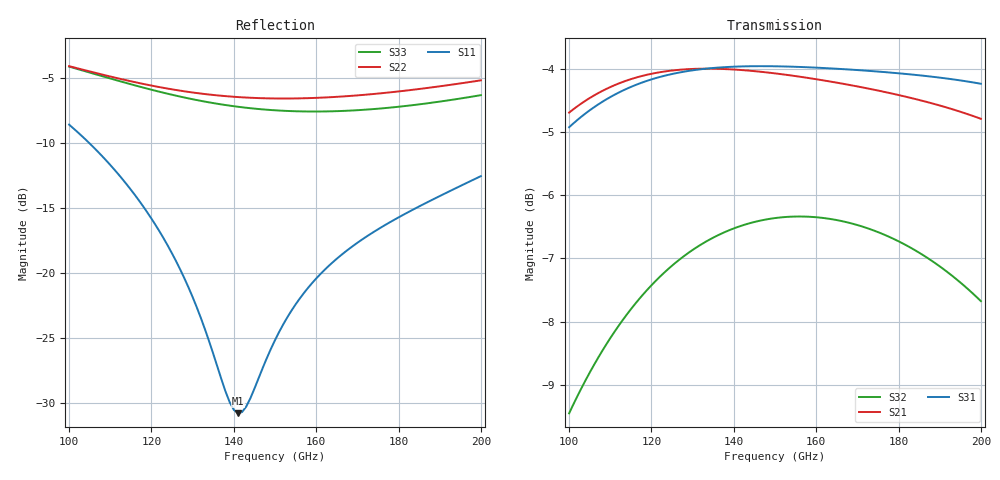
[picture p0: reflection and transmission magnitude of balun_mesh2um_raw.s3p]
#  GHZ S DB R 50.0
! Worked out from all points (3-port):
!   101 points, 100 GHz to 200 GHz, reference 50 ohm
!   strongest paths, dB at 100 GHz, 125 GHz, 150 GHz, 175 GHz, 200 GHz:
!     S31: -4.9, -4.1, -4.0, -4.0, -4.2
!     S21: -4.7, -4.0, -4.1, -4.3, -4.8
!     S32: -9.5, -7.1, -6.4, -6.6, -7.7
!   lowest |S11| = -30.8 dB at 141 GHz (marker M1), VSWR 1.06, Z = 47.4 + j1.14 ohm
!   |S11| at or under -10 dB: 104.9 GHz to end of sweep
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100  -8.59 124.9  -4.70 -14.5  -4.93 161.6
     -4.70 -14.5  -4.09 59.1  -9.45 89.3
     -4.93 161.6  -9.45 89.3  -4.13 48.9
113  -12.79 107.9  -4.21 -35.1  -4.35 139.8
     -4.21 -35.1  -5.11 47.6  -7.98 69.5
     -4.35 139.8  -7.98 69.5  -5.31 35.3
123  -17.35 99.8  -4.05 -49.8  -4.12 124.2
     -4.05 -49.8  -5.76 40.1  -7.23 55.0
     -4.12 124.2  -7.23 55.0  -6.14 26.4
130  -21.84 100.3  -4.01 -59.5  -4.03 113.8
     -4.01 -59.5  -6.11 35.3  -6.87 45.3
     -4.03 113.8  -6.87 45.3  -6.63 20.8
141  -30.77 155.5  -4.02 -74.1  -3.97 98.2
     -4.02 -74.1  -6.47 28.0  -6.50 30.8
     -3.97 98.2  -6.50 30.8  -7.21 12.7
143  -30.26 176.0  -4.03 -76.7  -3.96 95.4
     -4.03 -76.7  -6.50 26.7  -6.46 28.2
     -3.96 95.4  -6.46 28.2  -7.29 11.3
150  -25.15 -151.0  -4.08 -85.5  -3.96 86.0
     -4.08 -85.5  -6.57 21.9  -6.36 19.3
     -3.96 86.0  -6.36 19.3  -7.48 6.4
157  -21.53 -144.7  -4.14 -94.2  -3.98 76.8
     -4.14 -94.2  -6.56 17.0  -6.34 10.7
     -3.98 76.8  -6.34 10.7  -7.57 1.4
167  -18.37 -144.5  -4.25 -106.2  -4.01 63.9
     -4.25 -106.2  -6.41 9.4  -6.42 -1.4
     -4.01 63.9  -6.42 -1.4  -7.52 -6.1
200  -12.54 -154.4  -4.79 -146.1  -4.24 21.7
     -4.79 -146.1  -5.18 -20.5  -7.68 -41.2
     -4.24 21.7  -7.68 -41.2  -6.32 -35.3
